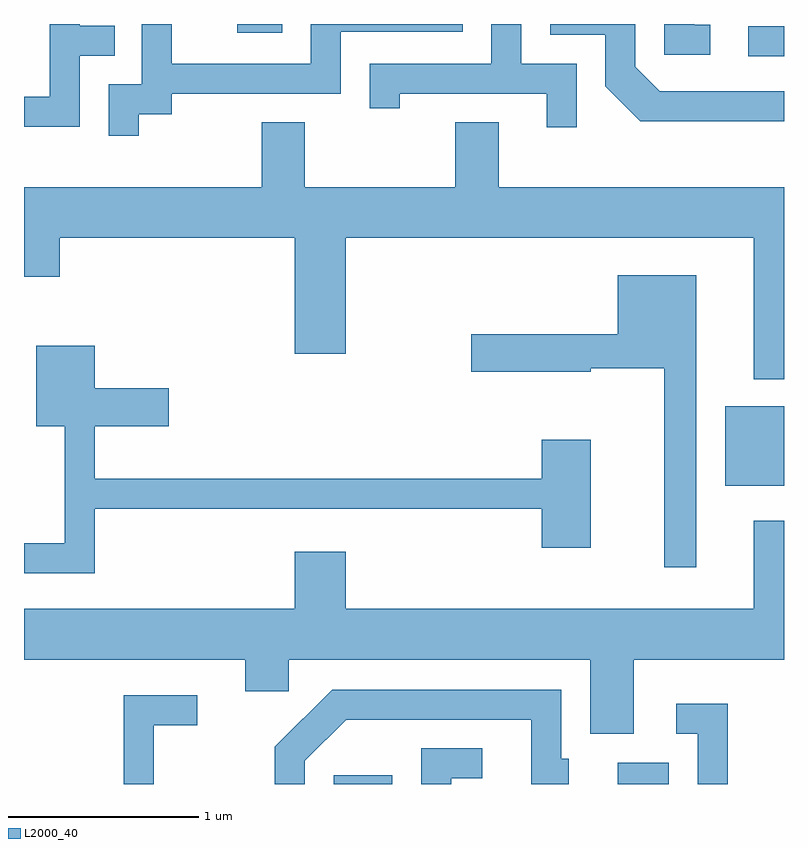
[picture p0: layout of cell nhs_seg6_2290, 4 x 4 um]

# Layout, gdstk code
import gdstk
lib = gdstk.Library(unit=1e-6, precision=1e-09)
def R(c, l, rs):  # rectangles x0, y0, x1, y1
    for r in rs: c.add(gdstk.rectangle(r[:2], r[2:], *l))
def P(c, l, *ps):  # polygons
    for p in ps: c.add(gdstk.Polygon(p, *l))
L2000_40 = (2000, 40)

nhs_seg6_2290 = lib.new_cell('nhs_seg6_2290')
R(nhs_seg6_2290, L2000_40, [(255.241,1658.162,255.549,1658.209), (256.736,1658.162,257.004,1658.274), (257.301,1659.731,257.611,1660.149), (257.423,1661.991,257.611,1662.149), (254.733,1662.116,254.969,1662.162)])
P(nhs_seg6_2290, L2000_40, [(257.611,1661.809),(256.957,1661.809),(256.829,1661.937),(256.829,1662.162),(256.381,1662.162),(256.381,1662.106),(256.671,1662.106),(256.671,1661.834),(256.854,1661.651),(257.611,1661.651)],
  [(256.519,1661.954),(256.229,1661.954),(256.229,1662.162),(256.071,1662.162),(256.071,1661.954),(255.431,1661.954),(255.431,1661.718),(255.589,1661.718),(255.589,1661.796),(256.361,1661.796),(256.361,1661.618),(256.519,1661.618)],
  [(254.214,1661.686),(254.389,1661.686),(254.389,1661.796),(255.279,1661.796),(255.279,1662.121),(255.919,1662.121),(255.919,1662.162),(255.121,1662.162),(255.121,1661.954),(254.389,1661.954),(254.389,1662.162),(254.231,1662.162),(254.231,1661.844),(254.056,1661.844),(254.056,1661.573),(254.214,1661.573)],
  [(257.223,1662.159),(257.139,1662.159),(257.139,1662.162),(256.981,1662.162),(256.981,1662.001),(257.223,1662.001)],
  [(253.904,1661.996),(254.088,1661.996),(254.088,1662.154),(253.904,1662.154),(253.904,1662.162),(253.746,1662.162),(253.746,1661.779),(253.611,1661.779),(253.611,1661.621),(253.904,1661.621)],
  [(257.611,1661.304),(256.109,1661.304),(256.109,1661.644),(255.881,1661.644),(255.881,1661.304),(255.089,1661.304),(255.089,1661.644),(254.861,1661.644),(254.861,1661.304),(253.611,1661.304),(253.611,1660.831),(253.799,1660.831),(253.799,1661.036),(255.036,1661.036),(255.036,1660.426),(255.304,1660.426),(255.304,1661.036),(257.451,1661.036),(257.451,1660.293),(257.611,1660.293)],
  [(257.149,1660.839),(256.736,1660.839),(256.736,1660.529),(255.966,1660.529),(255.966,1660.331),(256.594,1660.331),(256.594,1660.351),(256.981,1660.351),(256.981,1659.303),(257.149,1659.303)],
  [(253.984,1659.611),(256.336,1659.611),(256.336,1659.406),(256.594,1659.406),(256.594,1659.974),(256.336,1659.974),(256.336,1659.769),(253.984,1659.769),(253.984,1660.046),(254.374,1660.046),(254.374,1660.244),(253.984,1660.244),(253.984,1660.469),(253.676,1660.469),(253.676,1660.046),(253.826,1660.046),(253.826,1659.429),(253.611,1659.429),(253.611,1659.271),(253.984,1659.271)],
  [(256.819,1658.816),(257.611,1658.816),(257.611,1659.548),(257.451,1659.548),(257.451,1659.084),(255.304,1659.084),(255.304,1659.384),(255.036,1659.384),(255.036,1659.084),(253.611,1659.084),(253.611,1658.816),(254.776,1658.816),(254.776,1658.651),(255.004,1658.651),(255.004,1658.816),(256.591,1658.816),(256.591,1658.426),(256.819,1658.426)],
  [(255.089,1658.284),(255.307,1658.501),(256.281,1658.501),(256.281,1658.162),(256.479,1658.162),(256.479,1658.294),(256.439,1658.294),(256.439,1658.659),(255.234,1658.659),(254.931,1658.357),(254.931,1658.162),(255.089,1658.162)],
  [(254.294,1658.471),(254.523,1658.471),(254.523,1658.629),(254.136,1658.629),(254.136,1658.162),(254.294,1658.162)],
  [(257.314,1658.584),(257.043,1658.584),(257.043,1658.426),(257.156,1658.426),(257.156,1658.162),(257.314,1658.162)],
  [(255.859,1658.191),(256.022,1658.191),(256.022,1658.349),(255.701,1658.349),(255.701,1658.162),(255.859,1658.162)])

lib.write_gds('nhs_seg6_2290.gds')
